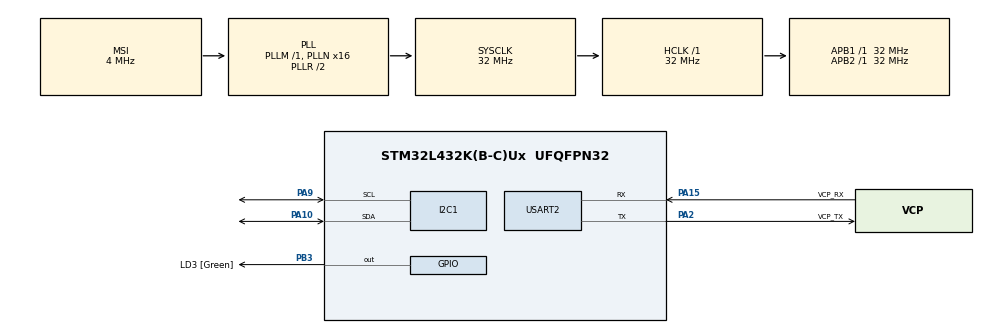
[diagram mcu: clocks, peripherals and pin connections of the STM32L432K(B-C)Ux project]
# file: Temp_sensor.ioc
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I2C1.Timing=0x00707CBB
Mcu.Family=STM32L4
Mcu.Name=STM32L432K(B-C)Ux
Mcu.Package=UFQFPN32
NVIC.PriorityGroup=NVIC_PRIORITYGROUP_4
PA0.GPIO_Label=MCO [High speed clock in]
PA0.Mode=HSE-External-Clock-Source-for-LittleOrca
PA0.Signal=RCC_CK_IN
PA10.Mode=I2C
PA10.Signal=I2C1_SDA
PA13\ (JTMS-SWDIO).GPIO_Label=SWDIO
PA13\ (JTMS-SWDIO).Mode=Serial_Wire
PA13\ (JTMS-SWDIO).Signal=SYS_JTMS-SWDIO
PA14\ (JTCK-SWCLK).GPIO_Label=SWCLK
PA14\ (JTCK-SWCLK).Mode=Serial_Wire
PA14\ (JTCK-SWCLK).Signal=SYS_JTCK-SWCLK
PA15\ (JTDI).GPIO_Label=VCP_RX
PA15\ (JTDI).Mode=Asynchronous
PA15\ (JTDI).Signal=USART2_RX
PA2.GPIO_Label=VCP_TX
PA2.Mode=Asynchronous
PA2.Signal=USART2_TX
PA9.Mode=I2C
PA9.Signal=I2C1_SCL
PB3\ (JTDO-TRACESWO).GPIO_Label=LD3 [Green]
PB3\ (JTDO-TRACESWO).Signal=GPIO_Output
PC14-OSC32_IN\ (PC14).Mode=LSE-External-Oscillator
PC14-OSC32_IN\ (PC14).Signal=RCC_OSC32_IN
PC15-OSC32_OUT\ (PC15).Mode=LSE-External-Oscillator
PC15-OSC32_OUT\ (PC15).Signal=RCC_OSC32_OUT
ProjectManager.HeapSize=0x200
ProjectManager.StackSize=0x400
ProjectManager.TargetToolchain=STM32CubeIDE
RCC.AHBFreq_Value=32000000
RCC.APB1Freq_Value=32000000
RCC.APB1TimFreq_Value=32000000
RCC.APB2Freq_Value=32000000
RCC.APB2TimFreq_Value=32000000
RCC.CortexFreq_Value=32000000
RCC.HCLKFreq_Value=32000000
RCC.HSE_VALUE=8000000
RCC.HSI16_VALUE=16000000
RCC.HSI48_VALUE=48000000
RCC.HSI_VALUE=16000000
RCC.MSI_VALUE=4000000
RCC.PLLMUL=RCC_PLLMUL_4
RCC.PLLN=16
RCC.SYSCLKFreq_VALUE=32000000
RCC.SYSCLKSource=RCC_SYSCLKSOURCE_PLLCLK
RCC.VCOOutputFreq_Value=64000000
USART2.VirtualMode-Asynchronous=VM_ASYNC
board=NUCLEO-L432KC

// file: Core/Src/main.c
/* USER CODE BEGIN Header */
/**
  ******************************************************************************
  * @file           : main.c
  * @brief          : Main program body
  ******************************************************************************
  * @attention
  *
  * <h2><center>&copy; Copyright (c) 2021 STMicroelectronics.
  * All rights reserved.</center></h2>
  *
  * This software component is licensed by ST under BSD 3-Clause license,
  * the "License"; You may not use this file except in compliance with the
  * License. You may obtain a copy of the License at:
  *                        opensource.org/licenses/BSD-3-Clause
  *
  ******************************************************************************
  */
/* USER CODE END Header */
#include "main.h"

/* USER CODE BEGIN Includes */
#include "BMP280.h"
#include <string.h>
#include <math.h>
/* USER CODE END Includes */

I2C_HandleTypeDef hi2c1;

UART_HandleTypeDef huart2;

void SystemClock_Config(void);
static void MX_GPIO_Init(void);
static void MX_USART2_UART_Init(void);
static void MX_I2C1_Init(void);

/* USER CODE BEGIN 0 */
// The code in User code 0 is only used to convert data to be read in a terminal emulator
uint8_t string_compare(char array1[], char array2[], uint16_t lenght)
{
	 uint8_t comVAR=0, i;
	 for(i=0;i<lenght;i++)
	   	{
	   		  if(array1[i]==array2[i])
	   	  		  comVAR++;
	   	  	  else comVAR=0;
	   	}
	 if (comVAR==lenght)
		 	return 1;
	 else 	return 0;
}

// reverses a string 'str' of length 'len'
void reverse(char *str, int len)
{
    int i=0, j=len-1, temp;
    while (i<j)
    {
        temp = str[i];
        str[i] = str[j];
        str[j] = temp;
        i++; j--;
    }
}

// Converts a given integer x to string str[].  d is the number
// of digits required in output. If d is more than the number
// of digits in x, then 0s are added at the beginning.
int intToStr(int x, char str[], int d)
{
   int i = 0;
   while (x)
   {
       str[i++] = (x%10) + '0';
       x = x/10;
   }

   // If number of digits required is more, then
   // add 0s at the beginning
   while (i < d)
       str[i++] = '0';

   reverse(str, i);
   str[i] = '\0';
   return i;
}

// Converts a floating point number to string.
void ftoa(float n, char *res, int afterpoint)
{
	unsigned char minus_flag = 0;
	if(n<0)
	{
		minus_flag = 1;
		n = -n;
	}

    // Extract integer part
    int ipart = (int)n;

    // Extract floating part
    float fpart = n - (float)ipart;

    // convert integer part to string
    int i = intToStr(ipart, res, 0);

    // check for display option after point
    if (afterpoint != 0)
    {
        res[i] = '.';  // add dot

        // Get the value of fraction part upto given no.
        // of points after dot. The third parameter is needed
        // to handle cases like 233.007
        fpart = fpart * pow(10, afterpoint);

        intToStr((int)fpart, res + i + 1, afterpoint);
    }

    char string[30];
    if(minus_flag==1)
    {
        memset(string, 0, 30);
        string[0]='-';
        if(n<1.0f)
        {
        	string[1]='0';
        	strcpy(&string[2], res);
        }else
        	strcpy(&string[1], res);

        memset(res, 0, strlen(res));
        strcpy(res, string);
    }else
    if(n<1.0f)
	{
		string[0]='0';
		strcpy(&string[1], res);
		memset(res, 0, strlen(res));
		strcpy(res, string);
	}
}
/* USER CODE END 0 */

int main(void)
{

  /* MCU Configuration--------------------------------------------------------*/

  /* Reset of all peripherals, Initializes the Flash interface and the Systick. */
  HAL_Init();

  /* Configure the system clock */
  SystemClock_Config();

  /* Initialize all configured peripherals */
  MX_GPIO_Init();
  MX_USART2_UART_Init();
  MX_I2C1_Init();
  /* USER CODE BEGIN 2 */
  char string[200];
  HAL_Delay(2000);

     float bmp280Temperature;
     float bmp280Pressure;
     float bmp280Altitude;

     BMP280_init();// initialises the BMP280 by setting the data acquisition options and mode for the device
     BMP280_calc_values(NULL, NULL, &bmp280Altitude); // Calculates the initial height
     float init_height = bmp280Altitude; //sets init_height to the initial height
  /* USER CODE END 2 */

  /* Infinite loop */
  while (1)
  {

    /* USER CODE BEGIN 3 */
	  BMP280_calc_values(&bmp280Temperature, &bmp280Pressure, &bmp280Altitude); // Calculates the Temperature, Pressure and Altitude

	 		  memset(&string, 0, strlen(string));

	 		  strcat(string, "Temperature: ");
	 		  ftoa(bmp280Temperature, &string[strlen(string)], 3);
	 		  strcat(string, " C\r\n");

	 		  strcat(string, "Pressure: ");
	 		  ftoa(bmp280Pressure, &string[strlen(string)], 3);
	 		  strcat(string, " Pa\r\n");

	 		  strcat(string, "Altitude: ");
	 		  ftoa(bmp280Altitude, &string[strlen(string)], 3);
	 		  strcat(string, " m\r\n");

	 		  strcat(string, "Relative altitude: ");
	 		  ftoa(bmp280Altitude - init_height, &string[strlen(string)], 3);
	 		  strcat(string, " m\r\n\n\n");

	 		 // Transmits the string via UART to read data with a PuTTy(terminal emulator)
	 		  HAL_UART_Transmit(&huart2, (uint8_t*)string, strlen((char*)string),HAL_MAX_DELAY);
	 		  HAL_Delay(1000);
  }
  /* USER CODE END 3 */
}

void SystemClock_Config(void)
{
  RCC_OscInitTypeDef RCC_OscInitStruct = {0};
  RCC_ClkInitTypeDef RCC_ClkInitStruct = {0};

  /** Configure the main internal regulator output voltage
  */
  if (HAL_PWREx_ControlVoltageScaling(PWR_REGULATOR_VOLTAGE_SCALE1) != HAL_OK)
  {
    Error_Handler();
  }
  /** Configure LSE Drive Capability
  */
  HAL_PWR_EnableBkUpAccess();
  __HAL_RCC_LSEDRIVE_CONFIG(RCC_LSEDRIVE_LOW);
  /** Initializes the RCC Oscillators according to the specified parameters
  * in the RCC_OscInitTypeDef structure.
  */
  RCC_OscInitStruct.OscillatorType = RCC_OSCILLATORTYPE_LSE|RCC_OSCILLATORTYPE_MSI;
  RCC_OscInitStruct.LSEState = RCC_LSE_ON;
  RCC_OscInitStruct.MSIState = RCC_MSI_ON;
  RCC_OscInitStruct.MSICalibrationValue = 0;
  RCC_OscInitStruct.MSIClockRange = RCC_MSIRANGE_6;
  RCC_OscInitStruct.PLL.PLLState = RCC_PLL_ON;
  RCC_OscInitStruct.PLL.PLLSource = RCC_PLLSOURCE_MSI;
  RCC_OscInitStruct.PLL.PLLM = 1;
  RCC_OscInitStruct.PLL.PLLN = 16;
  RCC_OscInitStruct.PLL.PLLP = RCC_PLLP_DIV7;
  RCC_OscInitStruct.PLL.PLLQ = RCC_PLLQ_DIV2;
  RCC_OscInitStruct.PLL.PLLR = RCC_PLLR_DIV2;
  if (HAL_RCC_OscConfig(&RCC_OscInitStruct) != HAL_OK)
  {
    Error_Handler();
  }
  /** Initializes the CPU, AHB and APB buses clocks
  */
  RCC_ClkInitStruct.ClockType = RCC_CLOCKTYPE_HCLK|RCC_CLOCKTYPE_SYSCLK
                              |RCC_CLOCKTYPE_PCLK1|RCC_CLOCKTYPE_PCLK2;
  RCC_ClkInitStruct.SYSCLKSource = RCC_SYSCLKSOURCE_PLLCLK;
  RCC_ClkInitStruct.AHBCLKDivider = RCC_SYSCLK_DIV1;
  RCC_ClkInitStruct.APB1CLKDivider = RCC_HCLK_DIV1;
  RCC_ClkInitStruct.APB2CLKDivider = RCC_HCLK_DIV1;

  if (HAL_RCC_ClockConfig(&RCC_ClkInitStruct, FLASH_LATENCY_1) != HAL_OK)
  {
    Error_Handler();
  }
  /** Enable MSI Auto calibration
  */
  HAL_RCCEx_EnableMSIPLLMode();
}

static void MX_I2C1_Init(void)
{

  hi2c1.Instance = I2C1;
  hi2c1.Init.Timing = 0x00707CBB;
  hi2c1.Init.OwnAddress1 = 0;
  hi2c1.Init.AddressingMode = I2C_ADDRESSINGMODE_7BIT;
  hi2c1.Init.DualAddressMode = I2C_DUALADDRESS_DISABLE;
  hi2c1.Init.OwnAddress2 = 0;
  hi2c1.Init.OwnAddress2Masks = I2C_OA2_NOMASK;
  hi2c1.Init.GeneralCallMode = I2C_GENERALCALL_DISABLE;
  hi2c1.Init.NoStretchMode = I2C_NOSTRETCH_DISABLE;
  if (HAL_I2C_Init(&hi2c1) != HAL_OK)
  {
    Error_Handler();
  }
  /** Configure Analogue filter
  */
  if (HAL_I2CEx_ConfigAnalogFilter(&hi2c1, I2C_ANALOGFILTER_ENABLE) != HAL_OK)
  {
    Error_Handler();
  }
  /** Configure Digital filter
  */
  if (HAL_I2CEx_ConfigDigitalFilter(&hi2c1, 0) != HAL_OK)
  {
    Error_Handler();
  }

}

static void MX_USART2_UART_Init(void)
{

  huart2.Instance = USART2;
  huart2.Init.BaudRate = 115200;
  huart2.Init.WordLength = UART_WORDLENGTH_8B;
  huart2.Init.StopBits = UART_STOPBITS_1;
  huart2.Init.Parity = UART_PARITY_NONE;
  huart2.Init.Mode = UART_MODE_TX_RX;
  huart2.Init.HwFlowCtl = UART_HWCONTROL_NONE;
  huart2.Init.OverSampling = UART_OVERSAMPLING_16;
  huart2.Init.OneBitSampling = UART_ONE_BIT_SAMPLE_DISABLE;
  huart2.AdvancedInit.AdvFeatureInit = UART_ADVFEATURE_NO_INIT;
  if (HAL_UART_Init(&huart2) != HAL_OK)
  {
    Error_Handler();
  }

}

static void MX_GPIO_Init(void)
{
  GPIO_InitTypeDef GPIO_InitStruct = {0};

  /* GPIO Ports Clock Enable */
  __HAL_RCC_GPIOC_CLK_ENABLE();
  __HAL_RCC_GPIOA_CLK_ENABLE();
  __HAL_RCC_GPIOB_CLK_ENABLE();

  /*Configure GPIO pin Output Level */
  HAL_GPIO_WritePin(LD3_GPIO_Port, LD3_Pin, GPIO_PIN_RESET);

  /*Configure GPIO pin : LD3_Pin */
  GPIO_InitStruct.Pin = LD3_Pin;
  GPIO_InitStruct.Mode = GPIO_MODE_OUTPUT_PP;
  GPIO_InitStruct.Pull = GPIO_NOPULL;
  GPIO_InitStruct.Speed = GPIO_SPEED_FREQ_LOW;
  HAL_GPIO_Init(LD3_GPIO_Port, &GPIO_InitStruct);

}

void Error_Handler(void)
{
  __disable_irq();
  while (1)
  {
  }
}

/************************ (C) COPYRIGHT STMicroelectronics *****END OF FILE****/
